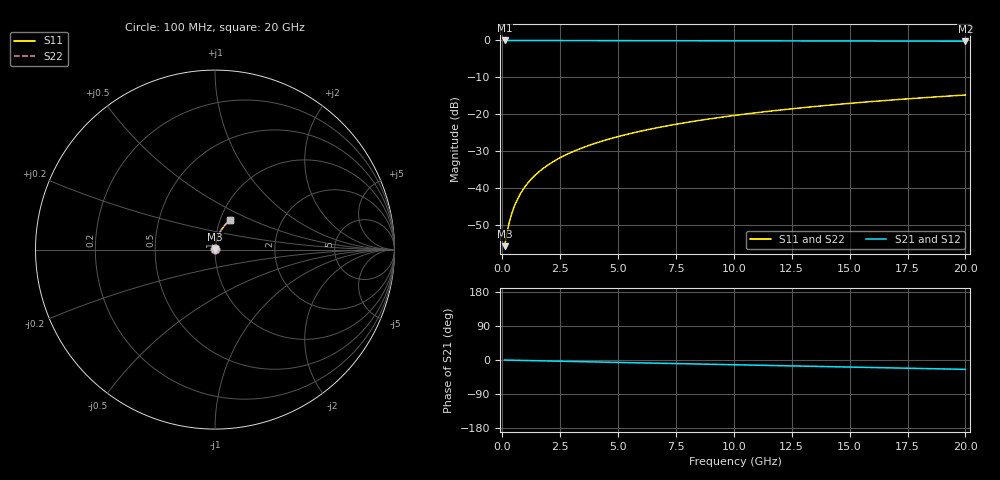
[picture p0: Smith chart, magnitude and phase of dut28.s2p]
! Touchstone file exported from HFSS 2026.1.0
!  File:  C:/ffzhzh/LocalFiles/Ansys_Project_Files/temp_train_BSMRDL_28_1782882164_46784.aedt
!  Generated:  01:03:57 PM Jul  1, 2026
!  Design:  BSMRDL
!  Project:  temp_train_BSMRDL_28_1782882164_46784
! Variables:
!  h_bsmrdl = 5.79um
!  h_ox = 20um
!  h_rdl = 5um
!  h_sub = 80um
!  h_tmrdl = 5um
!  h_tsv = 80um
!  h_via = 3um
!  l_bsmrdl = 376.28um
!  l_sub = 776.28um
!  l_tmrdl = 200um
!  m_sub = 200um
!  pitch = 43.12um
!  r_tsv = 6um
!  s_tmrdl = 10um
!  w_bsmrdl = 24.23um
!  w_sub = 500um
!  w_tmrdl = 12um
!  x_tsv_center1 = 206um
!  x_tsv_center2 = 606.51um
!  x_tsv_center3 = 818.51um
!  x_tsv_center4 = 1219.02um
!  x_tsv_center5 = 1431.02um
!  x_tsv_center6 = 1831.53um
# GHz S MA R 50.000000
! Terminal data exported
! Port[1] = BSM_RDL1_1_T1
! Port[2] = BSM_RDL1_1_T2
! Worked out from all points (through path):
!   200 points, 100 MHz to 20 GHz, reference 50 ohm
!   highest |S21| = -0.01 dB at 100 MHz (marker M1); lowest = -0.2 dB at 20 GHz (marker M2)
!   group delay of S21, straight-line fit = 3.42 ps
!   lowest |S11| = -55.8 dB at 100 MHz (marker M3), VSWR 1.00, Z = 50.1 + j0.117 ohm
!   |S11| at or under -10 dB: start of sweep to end of sweep
!   |S22| runs from -55.8 to -14.8 dB; largest |S21 - S12| = 5.5e-15
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0.1  0.001619 46.0  0.9989 -0.1  0.9989 -0.1  0.001619 46.0
! Gamma 0 0 0 0
! Port Impedance 50 0 50 0
0.2  0.002444 62.1  0.9988 -0.3  0.9988 -0.3  0.002443 62.2
0.3  0.003399 69.9  0.9987 -0.4  0.9987 -0.4  0.003399 69.9
0.4  0.0044 74.1  0.9986 -0.5  0.9986 -0.5  0.0044 74.1
0.5  0.005419 76.7  0.9986 -0.7  0.9986 -0.7  0.005419 76.7
0.6  0.006447 78.3  0.9985 -0.8  0.9985 -0.8  0.006447 78.3
0.8  0.00851 80.2  0.9984 -1.0  0.9984 -1.0  0.008512 80.3
1.1  0.0116 81.5  0.9983 -1.4  0.9983 -1.4  0.0116 81.5
1.3  0.01365 81.9  0.9982 -1.7  0.9982 -1.7  0.01365 81.9
1.5  0.01568 82.1  0.9981 -1.9  0.9981 -1.9  0.01568 82.1
1.8  0.0187 82.1  0.9979 -2.3  0.9979 -2.3  0.01871 82.1
2.1  0.0217 82.0  0.9977 -2.7  0.9977 -2.7  0.0217 82.0
2.7  0.0276 81.6  0.9973 -3.5  0.9973 -3.5  0.0276 81.6
3.5  0.03534 81.0  0.9966 -4.5  0.9966 -4.5  0.03534 81.0
4.2  0.04203 80.4  0.996 -5.4  0.996 -5.4  0.04203 80.4
5  0.04961 79.6  0.9953 -6.4  0.9953 -6.4  0.04961 79.6
6.8  0.06646 77.8  0.9937 -8.6  0.9937 -8.6  0.06646 77.8
8.3  0.08031 76.3  0.9922 -10.5  0.9922 -10.5  0.08031 76.3
10.1  0.09672 74.3  0.9902 -12.7  0.9902 -12.7  0.09672 74.3
13.4  0.1261 70.6  0.9862 -16.7  0.9862 -16.7  0.1261 70.6
16.7  0.1546 66.9  0.9815 -20.7  0.9815 -20.7  0.1546 66.9
20  0.1819 63.1  0.9763 -24.7  0.9763 -24.7  0.1819 63.1
